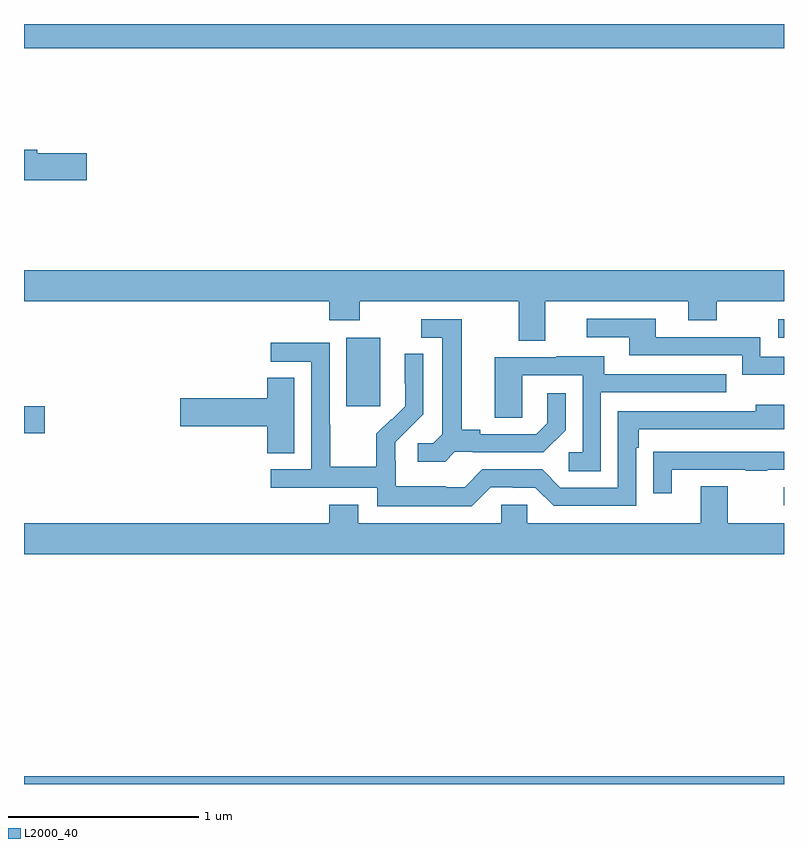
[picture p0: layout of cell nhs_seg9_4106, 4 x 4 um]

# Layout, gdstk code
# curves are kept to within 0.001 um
import gdstk
lib = gdstk.Library(unit=1e-6, precision=1e-09)
def R(c, l, rs):  # rectangles x0, y0, x1, y1
    for r in rs: c.add(gdstk.rectangle(r[:2], r[2:], *l))
def P(c, l, *ps):  # polygons
    for p in ps: c.add(gdstk.Polygon(p, *l))
L2000_40 = (2000, 40)

nhs_seg9_4106 = lib.new_cell('nhs_seg9_4106')
R(nhs_seg9_4106, L2000_40, [(345,1240.5,349,1240.54), (348.999,1241.967,349,1242.063), (345,1242.346,345.109,1242.488), (346.697,1242.489,346.876,1242.85), (348.969,1242.849,349,1242.945), (345,1244.372,349,1244.5)])
P(nhs_seg9_4106, L2000_40, [(345.331,1243.82),(345.07,1243.82),(345.07,1243.837),(345,1243.837),(345,1243.678),(345.331,1243.678)],
  [(347.743,1243.04),(348.497,1243.04),(348.497,1242.941),(348.645,1242.941),(348.645,1243.04),(349,1243.04),(349,1243.204),(345,1243.204),(345,1243.04),(346.607,1243.04),(346.607,1242.941),(346.767,1242.941),(346.767,1243.04),(347.603,1243.04),(347.603,1242.832),(347.743,1242.832)],
  [(349,1242.75),(348.876,1242.75),(348.876,1242.852),(348.325,1242.852),(348.325,1242.948),(347.961,1242.948),(347.961,1242.852),(348.185,1242.852),(348.185,1242.756),(348.78,1242.756),(348.78,1242.653),(349,1242.653)],
  [(347.268,1242.249),(347.362,1242.249),(347.362,1242.246),(347.734,1242.246),(347.85,1242.362),(347.85,1242.556),(347.753,1242.556),(347.753,1242.399),(347.696,1242.342),(347.401,1242.342),(347.401,1242.365),(347.305,1242.365),(347.305,1242.945),(347.091,1242.945),(347.091,1242.849),(347.201,1242.849),(347.201,1242.341),(347.154,1242.294),(347.073,1242.294),(347.073,1242.197),(347.216,1242.197)],
  [(347.457,1242.063),(347.573,1242.063),(347.573,1242.06),(347.691,1242.06),(347.787,1241.964),(348.222,1241.964),(348.222,1242.269),(348.235,1242.269),(348.235,1242.366),(349,1242.366),(349,1242.496),(348.851,1242.496),(348.851,1242.462),(348.126,1242.462),(348.126,1242.06),(347.823,1242.06),(347.727,1242.156),(347.412,1242.156),(347.319,1242.063),(347.219,1242.063),(347.219,1242.067),(346.956,1242.067),(346.956,1242.201),(346.954,1242.201),(346.954,1242.298),(347.1,1242.446),(347.1,1242.764),(347.004,1242.764),(347.004,1242.61),(347.006,1242.61),(347.006,1242.488),(346.935,1242.417),(346.932,1242.42),(346.855,1242.343),(346.855,1242.169),(346.611,1242.169),(346.611,1242.392),(346.608,1242.392),(346.608,1242.822),(346.299,1242.822),(346.299,1242.723),(346.512,1242.723),(346.512,1242.156),(346.299,1242.156),(346.299,1242.06),(346.86,1242.06),(346.86,1241.963),(347.357,1241.963)],
  [(348.036,1242.561),(348.695,1242.561),(348.695,1242.657),(348.055,1242.657),(348.055,1242.751),(347.801,1242.751),(347.801,1242.747),(347.477,1242.747),(347.477,1242.427),(347.622,1242.427),(347.622,1242.651),(347.94,1242.651),(347.94,1242.246),(347.868,1242.246),(347.868,1242.145),(348.036,1242.145)],
  [(346.423,1242.638),(346.28,1242.638),(346.28,1242.53),(345.822,1242.53),(345.822,1242.383),(346.28,1242.383),(346.28,1242.241),(346.423,1242.241)],
  [(348.409,1242.153),(348.799,1242.153),(348.799,1242.148),(348.911,1242.148),(348.911,1242.153),(349,1242.153),(349,1242.249),(348.415,1242.249),(348.415,1242.248),(348.313,1242.248),(348.313,1242.03),(348.409,1242.03)],
  [(349,1241.872),(348.703,1241.872),(348.703,1242.067),(348.563,1242.067),(348.563,1241.872),(347.649,1241.872),(347.649,1241.97),(347.511,1241.97),(347.511,1241.872),(346.759,1241.872),(346.759,1241.971),(346.607,1241.971),(346.607,1241.872),(345,1241.872),(345,1241.708),(349,1241.708)])

lib.write_gds('nhs_seg9_4106.gds')
